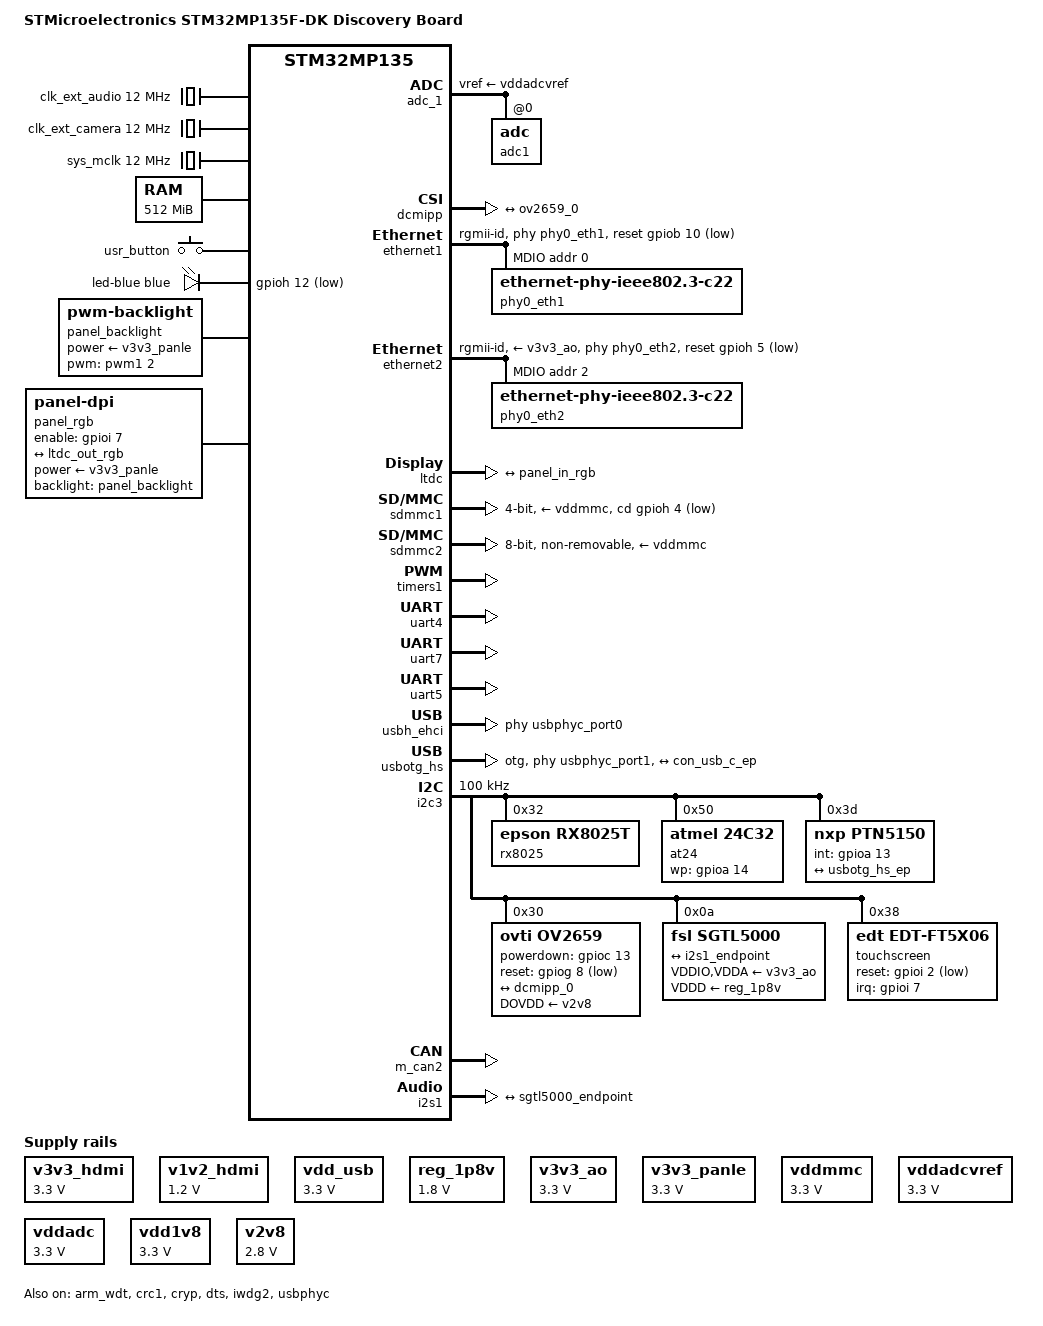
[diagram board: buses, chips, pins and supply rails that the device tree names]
// SPDX-License-Identifier: (GPL-2.0+ OR BSD-3-Clause)
/*
 * Copyright (C) STMicroelectronics 2021 - All Rights Reserved
 * Author: Alexandre Torgue <alexandre.torgue@foss.st.com> for STMicroelectronics.
 */

/dts-v1/;

#include <dt-bindings/gpio/gpio.h>
#include <dt-bindings/input/input.h>
#include <dt-bindings/leds/common.h>
#include <dt-bindings/pwm/pwm.h>
#include <dt-bindings/rtc/rtc-stm32.h>
#include "stm32mp135.dtsi"
#include "stm32mp13xf.dtsi"
#include "myb-stm32mp13-pinctrl.dtsi"

/ {
	model = "STMicroelectronics STM32MP135F-DK Discovery Board";
	compatible = "st,stm32mp135f-dk", "st,stm32mp135";

	aliases {
		ethernet0 = &ethernet1;
		ethernet1 = &ethernet2;
		serial0 = &uart4;
		serial1 = &uart7;
		serial2 = &uart5;
	};

	chosen {
		stdout-path = "serial0:115200n8";
		#address-cells = <1>;
		#size-cells = <1>;
		ranges;

		/*framebuffer {
			compatible = "simple-framebuffer";
			clocks = <&rcc LTDC_PX>;
			lcd-supply =  <&scmi_v3v3_sw>;
			status = "disabled";
		};*/
	};

	clocks {
                clk_ext_audio: clk-ext-audio {
                        #clock-cells = <0>;
                        compatible = "fixed-clock";
                        clock-frequency = <12000000>;
                };

                clk_ext_camera: clk-ext-camera {
                        #clock-cells = <0>;
                        compatible = "fixed-clock";
                        clock-frequency = <12000000>;
                };

                clk_mco1: clk-mco1 {
                        #clock-cells = <0>;
                        compatible = "fixed-clock";
                        clock-frequency = <24000000>;
                };
	};

        sys_mclk: clock-mclk {
                compatible = "fixed-clock";
                #clock-cells = <0>;
                clock-frequency = <12000000>;
        };


	memory@c0000000 {
		device_type = "memory";
		reg = <0xc0000000 0x20000000>;
	};

	reserved-memory {
		#address-cells = <1>;
		#size-cells = <1>;
		ranges;

		optee@dd000000 {
			reg = <0xdd000000 0x3000000>;
			no-map;
		};
	};

	gpio-keys {
                compatible = "gpio-keys";
                #size-cells = <0>;
                button-0 {
                        label = "usr_button";
                        linux,code = <KEY_ENTER>;
                        interrupt-parent = <&gpioi>;
                        interrupts = <1 IRQ_TYPE_EDGE_RISING>;
                };
	};

	leds {
                compatible = "gpio-leds";
                led-blue {
                        function = LED_FUNCTION_HEARTBEAT;
                        color = <LED_COLOR_ID_BLUE>;
                        gpios = <&gpioh 12 GPIO_ACTIVE_LOW>;
                        linux,default-trigger = "heartbeat";
                        default-state = "off";
                };
	};

	panel_backlight: panel-backlight {
		compatible = "pwm-backlight";
		pwms = <&pwm1 2 1000000 PWM_POLARITY_INVERTED>;
		brightness-levels = <0 16 22 30 40 55 75 102 138 188 255>;
		default-brightness-level = <10>;
		power-supply = <&v3v3_panle>;
		status = "okay";
	};

	panel_rgb: panel-rgb {
		compatible = "panel-dpi";
		enable-gpios = <&gpioi 7 GPIO_ACTIVE_HIGH>;
		backlight = <&panel_backlight>;
		power-supply = <&v3v3_panle>;
		//data-mapping = "bgr666";
		data-mapping = "rgb24";
		default-on;
		status = "okay";

		width-mm = <154>;
		height-mm = <92>;

		port {
			panel_in_rgb: endpoint {
				remote-endpoint = <&ltdc_out_rgb>;
			};
		};

		panel-timing {
			clock-frequency = <33000000>;
			hactive = <800>;
			vactive = <480>;
			hsync-len = <1>;
			hfront-porch = <210>;
			hback-porch = <46>;
			vsync-len = <20>;
			vfront-porch = <23>;
			vback-porch = <22>;
			hsync-active = <0>;
			vsync-active = <0>;
			de-active = <1>;
			pixelclk-active = <1>;
		};
	};

    v3v3_hdmi: regulator-v3v3-hdmi {
        compatible = "regulator-fixed";
        regulator-name = "v3v3_hdmi";
        regulator-min-microvolt = <3300000>;
        regulator-max-microvolt = <3300000>;
        regulator-always-on;
        regulator-boot-on;
    };

    v1v2_hdmi: regulator-v1v2-hdmi {
        compatible = "regulator-fixed";
        regulator-name = "v1v2_hdmi";
        regulator-min-microvolt = <1200000>;
        regulator-max-microvolt = <1200000>;
        regulator-always-on;
        regulator-boot-on;
    };

        vdd_usb: reg-vdd_usb {
                compatible = "regulator-fixed";
                regulator-name = "vdd_usb";
                regulator-min-microvolt = <3300000>;
                regulator-max-microvolt = <3300000>;
                regulator-always-on;
                regulator-boot-on;
        };

        reg_1p8v: regulator3 {
                compatible = "regulator-fixed";
                regulator-name = "fixed-1.8V";
                regulator-min-microvolt = <1800000>;
                regulator-max-microvolt = <1800000>;
                regulator-boot-on;
                regulator-always-on;
        };

	v3v3_ao: v3v3_ao {
		compatible = "regulator-fixed";
		regulator-name = "v3v3_ao";
		regulator-min-microvolt = <3300000>;
		regulator-max-microvolt = <3300000>;
		regulator-always-on;
	};

        v3v3_panle: v3v3_panle {
                        compatible = "regulator-fixed";
                        regulator-name = "v3v3_panle";
                        regulator-min-microvolt = <3300000>;
                        regulator-max-microvolt = <3300000>;
                        regulator-always-on;
        };

        vddmmc: fixedregulator@0 {
                        compatible = "regulator-fixed";
                        regulator-name = "vddmmc";
                        regulator-min-microvolt = <3300000>;
                        regulator-max-microvolt = <3300000>;
        };

        vddadcvref: fixedregulator@0 {
                        compatible = "regulator-fixed";
                        regulator-name = "vddadcvref";
                        regulator-min-microvolt = <3300000>;
                        regulator-max-microvolt = <3300000>;
        };

        vddadc: fixedregulator@0 {
                        compatible = "regulator-fixed";
                        regulator-name = "vddadc";
                        regulator-min-microvolt = <3300000>;
                        regulator-max-microvolt = <3300000>;
        };

        vdd1v8: vdd1v8 {
                        compatible = "regulator-fixed";
                        regulator-name = "vdd1v8";
                        regulator-min-microvolt = <3300000>;
                        regulator-max-microvolt = <3300000>;
        };

        v2v8: v2v8 {
                        compatible = "regulator-fixed";
                        regulator-name = "v2v8";
                        regulator-min-microvolt = <2800000>;
                        regulator-max-microvolt = <2800000>;
        };

	/*wifi_pwrseq: wifi-pwrseq {
		compatible = "mmc-pwrseq-simple";
		reset-gpios = <&mcp23017 11 GPIO_ACTIVE_LOW>;
	};*/


        sound: audio {
                compatible = "simple-audio-card";
                simple-audio-card,name = "MYD-YF13X-Audio";
                simple-audio-card,format = "i2s";
                simple-audio-card,bitclock-master = <&codec_dai>;
                simple-audio-card,frame-master = <&codec_dai>;
                simple-audio-card,mclk-fs = <256>;

                simple-audio-card,widgets =
                        "Microphone", "Microphone Jack",
                        "Headphone", "Headphone Jack",
                        "Speaker", "Speaker Ext",
                        "Line", "Line In Jack";
                simple-audio-card,routing =
                                "MIC_IN", "Microphone Jack",
                                "Microphone Jack", "Mic Bias",
                                "Headphone Jack", "HP_OUT";

                cpu_dai: simple-audio-card,cpu {
                                sound-dai = <&i2s1>;
                };

                codec_dai: simple-audio-card,codec {
                                sound-dai = <&sgtl5000>;
                };
    };
};

&adc_1 {
	pinctrl-names = "default";
	pinctrl-0 = <&adc1_usb_cc_pins_a>;
        vdda-supply = <&vddadc>;
        vref-supply = <&vddadcvref>;
        vdd-supply = <&vddadc>;
	status = "okay";
	adc1: adc@0 {
		status = "okay";
		/*
		 * Type-C USB_PWR_CC1 & USB_PWR_CC2 on in6 & in12.
		 * Use at least 5 * RC time, e.g. 5 * (Rp + Rd) * C:
		 * 5 * (5.1 + 47kOhms) * 5pF => 1.3us.
		 * Use arbitrary margin here (e.g. 5us).
		 */
		channel@2 {
			reg = <2>;
			st,min-sample-time-ns = <5000>;
		};
		channel@8 {
			reg = <8>;
			st,min-sample-time-ns = <5000>;
		};
	};
};

&arm_wdt {
	timeout-sec = <32>;
	status = "okay";
};

&crc1 {
	status = "okay";
};

&cryp {
	status = "okay";
};

&dcmipp {
	status = "okay";
	pinctrl-names = "default", "sleep";
	pinctrl-0 = <&dcmipp_pins_a>;
	pinctrl-1 = <&dcmipp_sleep_pins_a>;
	port {
		dcmipp_0: endpoint {
			remote-endpoint = <&ov2659_0>;
			bus-width = <8>;
			hsync-active = <0>;
			vsync-active = <1>;
			pclk-sample = <1>;
			//pclk-max-frequency = <120000000>;
		};
	};
};


&dma1 {
        sram = <&dma_pool>;
};

&dma2 {
        sram = <&dma_pool>;
};

&dts {
	status = "okay";
};

&ethernet1 {
	status = "okay";
        snps,reset-gpio = <&gpiob 10 GPIO_ACTIVE_LOW>;
        snps,reset-active-low;
        snps,reset-delays-us = <0 30000 50000>;
	pinctrl-0 = <&eth1_rgmii_pins_a>;
	pinctrl-1 = <&eth1_rgmii_sleep_pins_a>;
	pinctrl-names = "default", "sleep";
	phy-mode = "rgmii-id";
	max-speed = <1000>;
	phy-handle = <&phy0_eth1>;
	nvmem-cells = <&ethernet_mac1_address>;
	nvmem-cell-names = "mac-address";

	mdio {
		#address-cells = <1>;
		#size-cells = <0>;
		compatible = "snps,dwmac-mdio";

		phy0_eth1: ethernet-phy@0 {
			compatible = "ethernet-phy-ieee802.3-c22";
  			motorcomm,clk-out-frequency-hz = <125000000>;
                        motorcomm,keep-pll-enabled;
			reg = <0>;
			wakeup-source;
		};
	};
};

&ethernet2 {
	status = "okay";
        snps,reset-gpio = <&gpioh 5 GPIO_ACTIVE_LOW>;
        snps,reset-active-low;
        snps,reset-delays-us = <0 30000 50000>;
	pinctrl-0 = <&eth2_rgmii_pins_a>;
	pinctrl-1 = <&eth2_rgmii_sleep_pins_a>;
	pinctrl-names = "default", "sleep";
	phy-mode = "rgmii-id";
	max-speed = <1000>;
	phy-handle = <&phy0_eth2>;
	//st,ext-phyclk;
	phy-supply = <&v3v3_ao>;
	nvmem-cells = <&ethernet_mac2_address>;
	nvmem-cell-names = "mac-address";

	mdio {
		#address-cells = <1>;
		#size-cells = <0>;
		compatible = "snps,dwmac-mdio";
		phy0_eth2: ethernet-phy@2 {
			compatible = "ethernet-phy-ieee802.3-c22";
            		motorcomm,clk-out-frequency-hz = <125000000>;
                        motorcomm,keep-pll-enabled;
			reg = <2>;
		};
	};
};

&i2c1 {
	pinctrl-names = "default", "sleep";
	pinctrl-0 = <&i2c1_pins_a>;
	pinctrl-1 = <&i2c1_sleep_pins_a>;
	i2c-scl-rising-time-ns = <96>;
	i2c-scl-falling-time-ns = <3>;
	clock-frequency = <1000000>;
	status = "disabled";
	/* spare dmas for other usage */
	/delete-property/dmas;
	/delete-property/dma-names;

};

&i2c5 {
	pinctrl-names = "default", "sleep";
	pinctrl-0 = <&i2c5_pins_a>;
	pinctrl-1 = <&i2c5_sleep_pins_a>;
	i2c-scl-rising-time-ns = <170>;
	i2c-scl-falling-time-ns = <5>;
	clock-frequency = <400000>;
	status = "disabled";
	/* spare dmas for other usage */
	/delete-property/dmas;
	/delete-property/dma-names;

};

&iwdg2 {
        timeout-sec = <32>;
        status = "okay";
};

&ltdc {
	pinctrl-names = "default", "sleep";
	pinctrl-0 = <&ltdc_pins_a>;
	pinctrl-1 = <&ltdc_sleep_pins_a>;
	default-on;
	status = "okay";

	port {
		ltdc_out_rgb: endpoint {
			remote-endpoint = <&panel_in_rgb>;
		};
	};
};

&rtc {
	//st,lsco = <RTC_OUT2_RMP>;
	//pinctrl-0 = <&rtc_out2_rmp_pins_a>;
	//pinctrl-names = "default";
	status = "disabled";
};

&sdmmc1 {
	pinctrl-names = "default", "opendrain", "sleep";
	pinctrl-0 = <&sdmmc1_b4_pins_a &sdmmc1_clk_pins_a>;
	pinctrl-1 = <&sdmmc1_b4_od_pins_a &sdmmc1_clk_pins_a>;
	pinctrl-2 = <&sdmmc1_b4_sleep_pins_a>;
	cd-gpios = <&gpioh 4 (GPIO_ACTIVE_LOW | GPIO_PULL_UP)>;
	disable-wp;
	st,neg-edge;
	bus-width = <4>;
	vmmc-supply = <&vddmmc>;
	status = "okay";
};

/* eMMC */
&sdmmc2 {
	arm,primecell-periphid = <0x10153180>;
	pinctrl-names = "default", "opendrain", "sleep";
	pinctrl-0 = <&sdmmc2_b4_pins_a &sdmmc2_clk_pins_a>;
	pinctrl-1 = <&sdmmc2_b4_od_pins_a &sdmmc2_clk_pins_a>;
	pinctrl-2 = <&sdmmc2_b4_sleep_pins_a>;
	non-removable;
        no-sd;
        no-sdio;
        st,neg-edge;
        bus-width = <8>;
        vmmc-supply = <&vddmmc>;
        vqmmc-supply = <&vdd1v8>;
        #address-cells = <1>;
        #size-cells = <0>;
        status = "okay";
};

&sram1 {
        dma_pool: dma-sram@0 {
                reg = <0x0 0x4000>;
                pool;
        };
};

&timers1 {
	/* spare dmas for other usage */
	/delete-property/dmas;
	/delete-property/dma-names;
	status = "okay";
	pwm1: pwm {
		pinctrl-0 = <&pwm1_ch4_pins_a>;
		pinctrl-1 = <&pwm1_ch4_sleep_pins_a>;
		pinctrl-names = "default", "sleep";
		status = "okay";
	};
};

&uart4 {
	pinctrl-names = "default", "sleep", "idle";
	pinctrl-0 = <&uart4_pins_a>;
	pinctrl-1 = <&uart4_sleep_pins_a>;
	pinctrl-2 = <&uart4_idle_pins_a>;
	/delete-property/dmas;
	/delete-property/dma-names;
	status = "okay";
};

/*RS485*/
&uart7 {
        pinctrl-names = "default", "sleep", "idle";
        pinctrl-0 = <&uart7_pins_a>;
        pinctrl-1 = <&uart7_sleep_pins_a>;
        pinctrl-2 = <&uart7_idle_pins_a>;
        /delete-property/dmas;
        /delete-property/dma-names;
        status = "okay";
};

/*RS232*/
&uart5 {
        pinctrl-names = "default", "sleep", "idle";
        pinctrl-0 = <&uart5_pins_a>;
        pinctrl-1 = <&uart5_sleep_pins_a>;
        pinctrl-2 = <&uart5_idle_pins_a>;
        status = "okay";
};

&usbh_ehci {
	phys = <&usbphyc_port0>;
	status = "okay";
	#address-cells = <1>;
	#size-cells = <0>;
};

&usbotg_hs {
	phys = <&usbphyc_port1 0>;
	phy-names = "usb2-phy";
	usb-role-switch;
    	dr_mode = "otg";
        role-switch-default-mode = "peripheral";
	status = "okay";
	port {
		usbotg_hs_ep: endpoint {
			remote-endpoint = <&con_usb_c_ep>;
		};
	};
};

&usbphyc {
	status = "okay";
};

&usbphyc_port0 {
	phy-supply = <&vdd_usb>;
	st,current-boost-microamp = <1000>;
	st,decrease-hs-slew-rate;
	st,tune-hs-dc-level = <2>;
	st,enable-hs-rftime-reduction;
	st,trim-hs-current = <11>;
	st,trim-hs-impedance = <2>;
	st,tune-squelch-level = <1>;
	st,enable-hs-rx-gain-eq;
	st,no-hs-ftime-ctrl;
	st,no-lsfs-sc;
};

&usbphyc_port1 {
	phy-supply = <&vdd_usb>;
	st,current-boost-microamp = <1000>;
	st,decrease-hs-slew-rate;
	st,tune-hs-dc-level = <2>;
	st,enable-hs-rftime-reduction;
	st,trim-hs-current = <11>;
	st,trim-hs-impedance = <2>;
	st,tune-squelch-level = <1>;
	st,enable-hs-rx-gain-eq;
	st,no-hs-ftime-ctrl;
	st,no-lsfs-sc;
};

&i2c3 {
        pinctrl-names = "default", "sleep";
        pinctrl-0 = <&i2c3_pins_a>;
        pinctrl-1 = <&i2c3_sleep_pins_a>;
        i2c-scl-rising-time-ns = <300>;
        i2c-scl-falling-time-ns = <300>;
        clock-frequency = <100000>;
        status = "okay";
        /* spare dmas for other usage */
        /delete-property/dmas;
        /delete-property/dma-names;

        rx8025: rx8025@32 {
                compatible = "epson,rx8025t";
                reg = <0x32>;
        };

        at24@50 {
                        compatible = "atmel,24c32";
                        pagesize = <64>;
			wp-gpios = <&gpioa 14 0>;
                        reg = <0x50>;
        };

        ptn5150: ptn5150@3d {
                compatible = "nxp,ptn5150";
                reg = <0x3d>;

                status = "okay";
                int-gpios = <&gpioa 13 GPIO_ACTIVE_HIGH>;
                connector {
                        compatible = "usb-c-connector";
                        label = "USB-C";
                        port {
                                con_usb_c_ep: endpoint {
                                        remote-endpoint = <&usbotg_hs_ep>;
                                };
                        };
                };
        };

        ov2659: camera@30 {
                compatible = "ovti,ov2659";
                reg = <0x30>;
                clocks = <&clk_ext_camera>;
                clock-names = "xvclk";
                DOVDD-supply = <&v2v8>;
                powerdown-gpios = <&gpioc 13 (GPIO_ACTIVE_HIGH | GPIO_PUSH_PULL)>;
                reset-gpios = <&gpiog 8 (GPIO_ACTIVE_LOW | GPIO_PUSH_PULL)>;
                // rotation = <180>;
                status = "okay";
                        port {
                        ov2659_0: endpoint {
                                remote-endpoint = <&dcmipp_0>;
                                // bus-width = <8>;
                                // data-shift = <2>; /* lines 9:2 are used */
                                // hsync-active = <0>;
                                // vsync-active = <0>;
                                // pclk-sample = <1>;
                                link-frequencies = /bits/ 64 <70000000>;
                                // pclk-max-frequency = <24000000>;
                        };
                };
        };

        sgtl5000: audio-codec@a {
                status = "okay";
                #sound-dai-cells = <0>;
                compatible = "fsl,sgtl5000";
                reg = <0xa>;
                VDDIO-supply = <&v3v3_ao>;
                VDDA-supply = <&v3v3_ao>;
                VDDD-supply = <&reg_1p8v>;
                clocks = <&clk_ext_audio>;
                port {
                        #address-cells = <0x1>;
                        #size-cells = <0x0>;
            		port@0 {
                		reg = <0>;
                		sgtl5000_endpoint: endpoint {
                                        remote-endpoint = <&i2s1_endpoint>;
                		};
                        };
                };
        };

        touchscreen@38 {
              compatible ="edt,edt-ft5x06";
              reg = <0x38>;

              interrupt-parent = <&gpioi>;
              interrupts = <7  IRQ_TYPE_EDGE_FALLING>;
              interrupt-controller;
              touchscreen-size-x = <1024>;
              touchscreen-size-y = <600>;

              reset-gpios = <&gpioi 2 GPIO_ACTIVE_LOW>;
              status = "okay";
      };
};

&m_can2 {
        pinctrl-names = "default", "sleep";
        pinctrl-0 = <&m_can2_pins_a>;
        pinctrl-1 = <&m_can2_sleep_pins_a>;
        status = "okay";
};

&i2s1 {
        #clock-cells = <0>;
        clocks = <&rcc SPI1>, <&rcc SPI1_K>, <&scmi_clk CK_SCMI_PLL3_Q>, <&scmi_clk CK_SCMI_PLL3_R>;
        clock-names = "pclk", "i2sclk", "x8k", "x11k";
        pinctrl-names = "default", "sleep";
        pinctrl-0 = <&i2s1_pins_a>;
        pinctrl-1 = <&i2s1_pins_sleep_a>;
        i2s-ioswp;
        status = "okay";

    i2s1_port: port {
        i2s1_endpoint: endpoint {
            remote-endpoint = <&sgtl5000_endpoint>;
        };
    };
};

